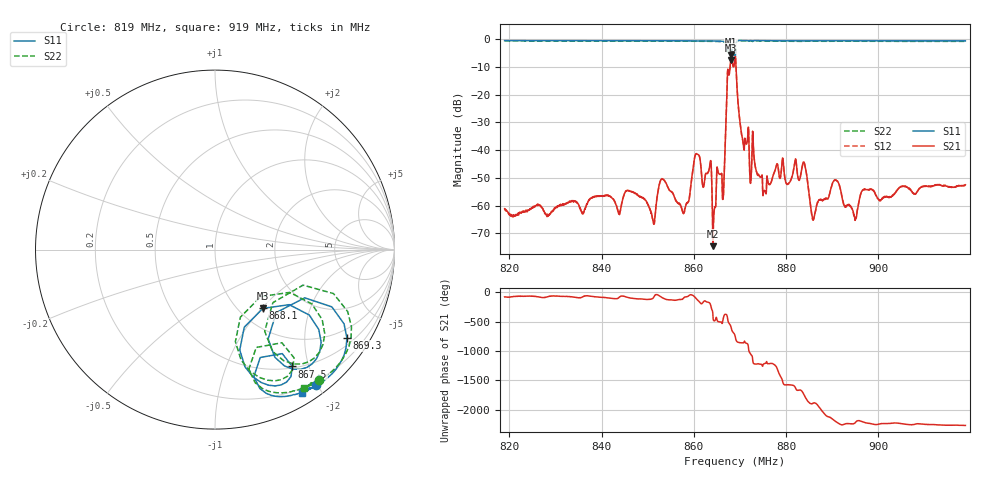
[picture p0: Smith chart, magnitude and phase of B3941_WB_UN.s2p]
! Matrix data file written by TouchstoneData, EPCOS AG
! FILENAME: "B3941_WB.s2p"
! COMMENT: "S-parameter B3941 narrowband (unmatched)"
! INFO: nport=2, nfreq=1601
! DATE: "Mon Sep  5 16:41:16 2011"
! USER: "Eluer Wang"
! port | pin | signal
!  1  |  1  |  in
!  2  |  4  |  out
# MHZ S MA R 50
! freq  magS11 angS11  magS21 angS21  magS12 angS12  magS22 angS22
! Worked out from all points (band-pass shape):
!   1601 points, 819 MHz to 919 MHz, reference 50 ohm
!   highest |S21| = -5.57 dB at 868.1 MHz (marker M1); lowest = -74.7 dB at 864.1 MHz (marker M2)
!   |S21| within 3 dB of the highest: 867.9569 MHz to 868.4099 MHz (453 kHz wide, 0.0522 % of centre); 868.8285 MHz to 869.1348 MHz (306.3 kHz wide, 0.0352 % of centre)
!   lowest |S11| = -7.5 dB at 868.1 MHz (marker M3), VSWR 2.46, Z = 63.8 - j50.8 ohm
!   |S11| at or under -10 dB: nowhere
!   |S22| runs from -8.7 to -0.5 dB; largest |S21 - S12| = 0.0028
!   S11 on the Smith chart (normalised r, x): 819 MHz: 0.14, -1.99; 867.5 MHz: 0.52, -1.74; 868.1 MHz: 1.28, -1.02; 869.3 MHz: 0.70, -3.15; 919 MHz: 0.14, -1.77
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818.95  0.9447 -53.2  0.0008726 -77.6  0.0008713 -75.0  0.9304 -51.4
835.6375  0.9417 -54.4  0.0007701 -87.1  0.0007814 -86.8  0.926 -52.6
845.8875  0.9403 -55.2  0.001827 -91.7  0.00185 -91.1  0.9251 -53.4
851.2  0.9385 -55.7  0.0004931 -96.4  0.0005169 -94.6  0.9241 -54.0
852.325  0.9376 -55.8  0.002005 -49.2  0.001996 -48.4  0.9232 -54.2
857.8875  0.9368 -56.6  0.0007301 -88.1  0.0007472 -90.3  0.9227 -55.1
860.7625  0.9316 -57.0  0.008481 -127.2  0.008459 -126.7  0.9165 -55.6
863.3875  0.9313 -58.1  0.004711 -178.1  0.004719 -177.2  0.9158 -56.8
864.1375  0.9319 -58.4  0.0001846 5.1  0.0001887 -2.7  0.9163 -57.2
866.3875  0.9168 -62.4  0.001398 -91.2  0.001385 -90.2  0.8981 -61.8
867.45  0.7806 -56.5  0.265 -134.4  0.2645 -133.9  0.7464 -53.9
868.1375  0.4227 -50.8  0.5266 111.1  0.5265 111.3  0.3652 -45.9
868.95  0.5788 -59.2  0.4619 -17.3  0.4617 -17.0  0.532 -58.7
869.2625  0.8847 -33.8  0.2158 -108.9  0.2152 -108.4  0.8741 -29.6
870.5125  0.949 -50.4  0.01747 -140.2  0.01738 -139.6  0.9375 -48.2
875.2625  0.9427 -54.7  0.001869 -137.7  0.001849 -137.0  0.9287 -53.1
883.8875  0.9332 -55.8  0.006098 58.7  0.006074 59.2  0.9172 -54.3
885.6375  0.9389 -56.2  0.0006833 -99.7  0.000669 -99.7  0.923 -54.8
890.7  0.9363 -56.6  0.002856 -35.7  0.002857 -34.7  0.9193 -55.2
894.95  0.938 -57.0  0.0006139 -70.7  0.0005791 -66.6  0.9201 -55.7
902.325  0.9369 -57.6  0.001407 -75.7  0.001428 -74.7  0.9178 -56.3
918.95  0.9349 -58.7  0.002362 -109.1  0.002321 -109.5  0.9163 -57.4
